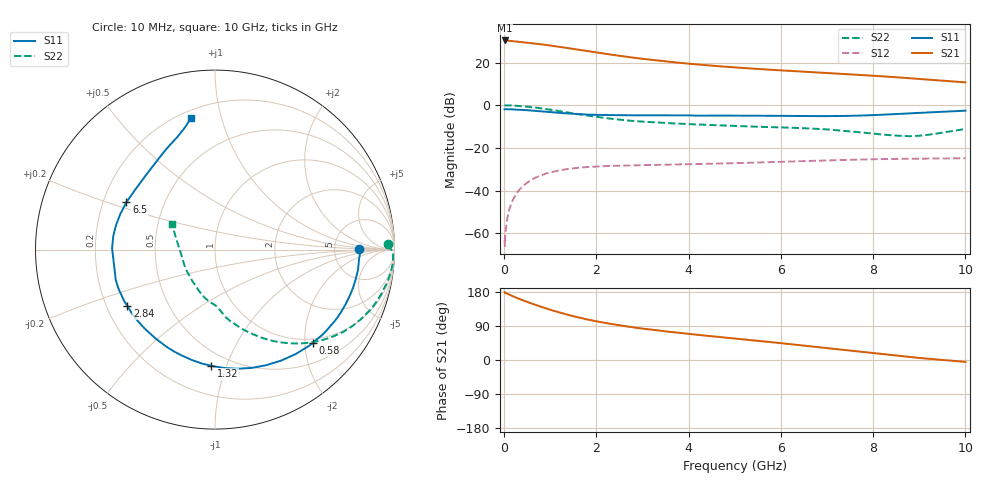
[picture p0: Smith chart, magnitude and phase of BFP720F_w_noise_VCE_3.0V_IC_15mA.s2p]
! Infineon Technologies  Discrete & RF Semiconductors
! BFP720F
! VCE =  3.0 V,  IC =  15 mA
! Common Emitter S-Parameters:  Jan 2016
# GHz  S  MA  R  50
!  f  S11  S21  S12  S22
! GHz  MAG  ANG  MAG  ANG  MAG  ANG  MAG  ANG
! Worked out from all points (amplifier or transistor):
!   233 points, 10 MHz to 10 GHz, reference 50 ohm
!   highest |S21| = 30.3 dB at 10 MHz (marker M1)
!   |S21| within 3 dB of that: start of sweep to 1.201 GHz
!   unconditionally stable (mu >= 1): start of sweep to 15.08 MHz; 6.137 GHz to end of sweep
!   at 200 MHz: K = 0.08, MSG = 36.9 dB, |S12| = -43.9 dB
!   at 1.74 GHz: K = 0.38, MSG = 27.3 dB, |S12| = -29.1 dB
!   at 10 GHz: K = 1.22, MAG = 14.9 dB, |S12| = -24.9 dB
!   lowest NFmin = 0.69 dB at 450 MHz
!   S11 on the Smith chart (normalised r, x): 10 MHz: 9.01, +0.21; 580 MHz: 0.91, -2.17; 1.32 GHz: 0.40, -0.89; 2.84 GHz: 0.29, -0.27; 6.5 GHz: 0.30, +0.23; 10 GHz: 0.24, +0.80
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0.01  0.8003 0.3  32.86 179.0  0.0007 -4.1  0.9658 1.7
0.02  0.8085 -1.3  32.55 176.7  0.0008 88.7  0.9925 -1.1
0.05  0.8044 -3.9  32.64 176.2  0.0016 84.9  0.9934 -2.0
0.155  0.801 -12.0  31.86 169.9  0.005 83.5  0.9885 -6.9
0.24  0.7941 -18.4  31.14 165.4  0.0077 80.0  0.9769 -10.7
0.4  0.7776 -30.5  29.87 157.8  0.0126 73.8  0.9468 -17.6
0.58  0.7527 -43.7  28.49 149.8  0.0176 67.1  0.9049 -24.8
0.8  0.7198 -59.3  26.77 140.3  0.0228 59.7  0.8464 -33.0
0.9  0.7047 -66.0  25.87 136.3  0.0249 56.6  0.8165 -36.4
1.1  0.6766 -78.8  24.12 128.8  0.0284 50.8  0.7568 -42.8
1.32  0.6474 -91.9  22.26 121.2  0.0313 45.3  0.6928 -49.0
1.68  0.6132 -110.7  19.43 110.2  0.0348 38.1  0.6001 -57.8
1.92  0.5982 -121.1  17.72 103.9  0.0363 34.2  0.5487 -62.8
2.2  0.5898 -131.1  15.97 97.6  0.0375 30.7  0.5001 -67.6
2.84  0.5806 -147.4  12.83 85.5  0.039 25.6  0.4242 -75.6
3.4  0.5797 -156.2  10.91 77.1  0.0401 23.2  0.3885 -80.2
4  0.5781 -163.0  9.379 68.8  0.0413 21.6  0.3603 -83.0
5.1  0.5706 171.5  7.548 55.5  0.0442 20.1  0.3246 -87.1
6.5  0.5596 151.9  6.105 38.0  0.0491 17.5  0.2902 -96.9
6.8  0.5558 146.8  5.841 34.2  0.0502 16.7  0.2785 -100.5
8.4  0.6148 117.4  4.599 13.0  0.0552 11.0  0.1977 -142.5
10  0.7446 100.4  3.435 -5.0  0.0572 6.3  0.2783 149.2
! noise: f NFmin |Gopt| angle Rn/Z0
0.45  0.69  0.24  1  0.47
0.9  0.71  0.18  6  0.15
1.8  0.75  0.16  8  0.15
2.4  0.77  0.14  12  0.13
5.5  0.93  0.11  16  0.08
10  1.1  0.32  -85  0.21
